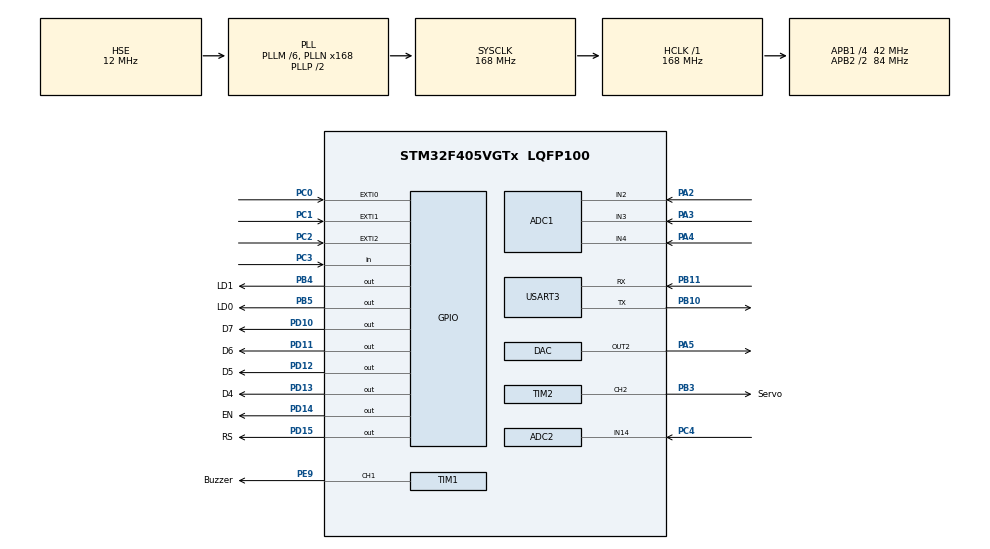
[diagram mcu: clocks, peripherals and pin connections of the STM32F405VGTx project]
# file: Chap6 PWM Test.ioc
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ADC1.Channel-0\#ChannelRegularConversion=ADC_CHANNEL_2
ADC1.Channel-1\#ChannelRegularConversion=ADC_CHANNEL_3
ADC1.Channel-2\#ChannelRegularConversion=ADC_CHANNEL_4
ADC1.ClockPrescaler=ADC_CLOCK_SYNC_PCLK_DIV4
ADC1.ContinuousConvMode=ENABLE
ADC1.DMAContinuousRequests=ENABLE
ADC1.DiscontinuousConvMode=DISABLE
ADC1.EnableAnalogWatchDog=false
ADC1.InjNumberOfConversion=0
ADC1.NbrOfConversion=3
ADC1.NbrOfConversionFlag=1
ADC1.Rank-0\#ChannelRegularConversion=1
ADC1.Rank-1\#ChannelRegularConversion=2
ADC1.Rank-2\#ChannelRegularConversion=3
ADC1.SamplingTime-0\#ChannelRegularConversion=ADC_SAMPLETIME_84CYCLES
ADC1.SamplingTime-1\#ChannelRegularConversion=ADC_SAMPLETIME_84CYCLES
ADC1.SamplingTime-2\#ChannelRegularConversion=ADC_SAMPLETIME_84CYCLES
ADC1.ScanConvMode=ENABLE
ADC1.master=1
ADC2.Channel-1\#ChannelRegularConversion=ADC_CHANNEL_14
ADC2.ClockPrescaler=ADC_CLOCK_SYNC_PCLK_DIV4
ADC2.ContinuousConvMode=ENABLE
ADC2.DMAContinuousRequests=ENABLE
ADC2.NbrOfConversionFlag=1
ADC2.Rank-1\#ChannelRegularConversion=1
ADC2.SamplingTime-1\#ChannelRegularConversion=ADC_SAMPLETIME_84CYCLES
ADC2.ScanConvMode=DISABLE
Dma.ADC1.0.Direction=DMA_PERIPH_TO_MEMORY
Dma.ADC1.0.FIFOMode=DMA_FIFOMODE_DISABLE
Dma.ADC1.0.Instance=DMA2_Stream0
Dma.ADC1.0.MemDataAlignment=DMA_MDATAALIGN_HALFWORD
Dma.ADC1.0.MemInc=DMA_MINC_ENABLE
Dma.ADC1.0.Mode=DMA_CIRCULAR
Dma.ADC1.0.PeriphDataAlignment=DMA_PDATAALIGN_HALFWORD
Dma.ADC1.0.PeriphInc=DMA_PINC_DISABLE
Dma.ADC1.0.Priority=DMA_PRIORITY_LOW
Dma.ADC2.1.Direction=DMA_PERIPH_TO_MEMORY
Dma.ADC2.1.FIFOMode=DMA_FIFOMODE_DISABLE
Dma.ADC2.1.Instance=DMA2_Stream2
Dma.ADC2.1.MemDataAlignment=DMA_MDATAALIGN_HALFWORD
Dma.ADC2.1.MemInc=DMA_MINC_DISABLE
Dma.ADC2.1.Mode=DMA_CIRCULAR
Dma.ADC2.1.PeriphDataAlignment=DMA_PDATAALIGN_HALFWORD
Dma.ADC2.1.PeriphInc=DMA_PINC_DISABLE
Dma.ADC2.1.Priority=DMA_PRIORITY_LOW
Dma.Request0=ADC1
Dma.Request1=ADC2
Mcu.Family=STM32F4
Mcu.Name=STM32F405VGTx
Mcu.Package=LQFP100
NVIC.DMA2_Stream0_IRQn=true\:0\:0\:false\:false\:true\:false\:true\:true
NVIC.DMA2_Stream2_IRQn=true\:0\:0\:false\:false\:true\:false\:true\:true
NVIC.EXTI0_IRQn=true\:0\:0\:false\:true\:true\:1\:true\:true\:true
NVIC.EXTI1_IRQn=true\:0\:0\:false\:true\:true\:2\:true\:true\:true
NVIC.EXTI2_IRQn=true\:0\:0\:false\:true\:true\:3\:true\:true\:true
NVIC.PriorityGroup=NVIC_PRIORITYGROUP_4
NVIC.TIM6_DAC_IRQn=true\:0\:0\:false\:true\:true\:5\:true\:true\:true
NVIC.TIM7_IRQn=true\:0\:0\:false\:true\:true\:6\:true\:true\:true
NVIC.USART3_IRQn=true\:0\:0\:false\:true\:true\:4\:true\:true\:true
PA2.Signal=ADCx_IN2
PA3.Signal=ADCx_IN3
PA4.Signal=ADCx_IN4
PA5.Signal=COMP_DAC2_group
PB10.Mode=Asynchronous
PB10.Signal=USART3_TX
PB11.Mode=Asynchronous
PB11.Signal=USART3_RX
PB3.GPIO_Label=Servo
PB3.Signal=S_TIM2_CH2
PB4.GPIO_Label=LD1
PB4.Signal=GPIO_Output
PB5.GPIO_Label=LD0
PB5.Signal=GPIO_Output
PC0.GPIO_ModeDefaultEXTI=GPIO_MODE_IT_FALLING
PC0.Signal=GPXTI0
PC1.GPIO_ModeDefaultEXTI=GPIO_MODE_IT_FALLING
PC1.Signal=GPXTI1
PC2.GPIO_ModeDefaultEXTI=GPIO_MODE_IT_FALLING
PC2.Signal=GPXTI2
PC3.Signal=GPIO_Input
PC4.Signal=ADCx_IN14
PD10.GPIO_Label=D7
PD10.Signal=GPIO_Output
PD11.GPIO_Label=D6
PD11.Signal=GPIO_Output
PD12.GPIO_Label=D5
PD12.Signal=GPIO_Output
PD13.GPIO_Label=D4
PD13.Signal=GPIO_Output
PD14.GPIO_Label=EN
PD14.Signal=GPIO_Output
PD15.GPIO_Label=RS
PD15.Signal=GPIO_Output
PE9.GPIO_Label=Buzzer
PE9.Signal=S_TIM1_CH1
PH0-OSC_IN.Mode=HSE-External-Oscillator
PH0-OSC_IN.Signal=RCC_OSC_IN
PH1-OSC_OUT.Mode=HSE-External-Oscillator
PH1-OSC_OUT.Signal=RCC_OSC_OUT
ProjectManager.HeapSize=0x200
ProjectManager.StackSize=0x400
ProjectManager.TargetToolchain=STM32CubeIDE
RCC.48MHZClocksFreq_Value=84000000
RCC.AHBFreq_Value=168000000
RCC.APB1CLKDivider=RCC_HCLK_DIV4
RCC.APB1Freq_Value=42000000
RCC.APB1TimFreq_Value=84000000
RCC.APB2CLKDivider=RCC_HCLK_DIV2
RCC.APB2Freq_Value=84000000
RCC.APB2TimFreq_Value=168000000
RCC.CortexFreq_Value=168000000
RCC.HCLKFreq_Value=168000000
RCC.HSE_VALUE=12000000
RCC.HSI_VALUE=16000000
RCC.LSE_VALUE=32768
RCC.PLLM=6
RCC.PLLN=168
RCC.PLLSourceVirtual=RCC_PLLSOURCE_HSE
RCC.SYSCLKFreq_VALUE=168000000
RCC.SYSCLKSource=RCC_SYSCLKSOURCE_PLLCLK
RCC.VCOOutputFreq_Value=336000000
SH.ADCx_IN14.0=ADC2_IN14,IN14
SH.ADCx_IN2.0=ADC1_IN2,IN2
SH.ADCx_IN3.0=ADC1_IN3,IN3
SH.ADCx_IN4.0=ADC1_IN4,IN4
SH.COMP_DAC2_group.0=DAC_OUT2,DAC_OUT2
SH.S_TIM1_CH1.0=TIM1_CH1,PWM Generation1 CH1
SH.S_TIM2_CH2.0=TIM2_CH2,PWM Generation2 CH2
TIM1.Channel-PWM\ Generation1\ CH1=TIM_CHANNEL_1
TIM1.Period=999
TIM1.Prescaler=167
TIM1.Pulse-PWM\ Generation1\ CH1=500
TIM2.Channel-PWM\ Generation2\ CH2=TIM_CHANNEL_2
TIM2.Period=10000-1
TIM2.Prescaler=168-1
TIM2.Pulse-PWM\ Generation2\ CH2=100
TIM4.Prescaler=83
TIM6.AutoReloadPreload=TIM_AUTORELOAD_PRELOAD_DISABLE
TIM6.Period=10000-1
TIM6.Prescaler=8400-1
TIM7.Period=9999
TIM7.Prescaler=4200-1
USART3.VirtualMode=VM_ASYNC
VP_TIM1_VS_ClockSourceINT.Mode=Internal
VP_TIM2_VS_ClockSourceINT.Mode=Internal
VP_TIM4_VS_ClockSourceINT.Mode=Internal
VP_TIM6_VS_ClockSourceINT.Mode=Enable_Timer
VP_TIM7_VS_ClockSourceINT.Mode=Enable_Timer
board=custom

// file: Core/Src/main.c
/* USER CODE BEGIN Header */
/**
  ******************************************************************************
  * @file           : main.c
  * @brief          : Main program body
  ******************************************************************************
  * @attention
  *
  * Copyright (c) 2025 STMicroelectronics.
  * All rights reserved.
  *
  * This software is licensed under terms that can be found in the LICENSE file
  * in the root directory of this software component.
  * If no LICENSE file comes with this software, it is provided AS-IS.
  *
  ******************************************************************************
  */
/* USER CODE END Header */
#include "main.h"
#include "adc.h"
#include "dac.h"
#include "dma.h"
#include "tim.h"
#include "usart.h"
#include "gpio.h"

/* USER CODE BEGIN Includes */
#include "stdio.h"
#include "CLCD.h"

/* USER CODE END Includes */

/* USER CODE BEGIN PM */
int _write(int file, char* p, int len){
	HAL_UART_Transmit(&huart3, p, len, 10);
	return len;
}

/* USER CODE END PM */

/* USER CODE BEGIN PV */
uint8_t rx_data = 0;
uint8_t lcd_flag = 0;

uint16_t adc1_val[3] = {0,};
uint16_t adc2_val = 0;
/* USER CODE END PV */

void SystemClock_Config(void);
static void MX_NVIC_Init(void);

/* USER CODE BEGIN 0 */
long map(long x, long in_min, long in_max, long out_min, long out_max) {
  return (x - in_min) * (out_max - out_min) / (in_max - in_min) + out_min;
}

/* USER CODE END 0 */

int main(void)
{

  /* MCU Configuration--------------------------------------------------------*/

  /* Reset of all peripherals, Initializes the Flash interface and the Systick. */
  HAL_Init();

  /* Configure the system clock */
  SystemClock_Config();

  /* Initialize all configured peripherals */
  MX_GPIO_Init();
  MX_DMA_Init();
  MX_USART3_UART_Init();
  MX_TIM4_Init();
  MX_ADC1_Init();
  MX_DAC_Init();
  MX_ADC2_Init();
  MX_TIM1_Init();
  MX_TIM6_Init();
  MX_TIM7_Init();
  MX_TIM2_Init();

  /* Initialize interrupts */
  MX_NVIC_Init();
  /* USER CODE BEGIN 2 */
  HAL_TIM_Base_Start_IT(&htim6);
//  HAL_TIM_Base_Start_IT(&htim7);

  lcd_Init(4, 20);
  uint8_t str[21];

  HAL_ADC_Start_DMA(&hadc1, &adc1_val[0], sizeof(adc1_val));
  HAL_ADC_Start_DMA(&hadc2, &adc2_val, 1);

  HAL_TIM_PWM_Start(&htim1, TIM_CHANNEL_1);
  HAL_Delay(50);
  HAL_TIM_PWM_Stop(&htim1, TIM_CHANNEL_1);

  HAL_TIM_PWM_Start(&htim2, TIM_CHANNEL_2);

  /* USER CODE END 2 */

  /* Infinite loop */
  /* USER CODE BEGIN WHILE */
  while (1)
  {
	  //예제 1 서보모터 각도 제어
//	  for(int i = 300; i < 1320; i++) {
//		  TIM2->CCR2 = i;
//		  HAL_Delay(1);
//	  }
//
//	  for(int i = 1320; i > 300; i--) {
//	  		  TIM2->CCR2 = i;
//	  		  HAL_Delay(1);
//	  }

	  // 예제 2 가변저항에 따른 서보 각도제어
//	  TIM2->CCR2 = map(adc1_val[0], 0, 4095, 300, 1320);
//
//	  if(lcd_flag) {
//		  lcd_flag = 0;
//
//		  sprintf(str, "ADC: %4d CCR: %4d", adc1_val[0], TIM2->CCR2);
//		  lcd_setCurStr(0, 0, str);
//	  }
    /* USER CODE END WHILE */

  }
}

void SystemClock_Config(void)
{
  RCC_OscInitTypeDef RCC_OscInitStruct = {0};
  RCC_ClkInitTypeDef RCC_ClkInitStruct = {0};

  /** Configure the main internal regulator output voltage
  */
  __HAL_RCC_PWR_CLK_ENABLE();
  __HAL_PWR_VOLTAGESCALING_CONFIG(PWR_REGULATOR_VOLTAGE_SCALE1);

  /** Initializes the RCC Oscillators according to the specified parameters
  * in the RCC_OscInitTypeDef structure.
  */
  RCC_OscInitStruct.OscillatorType = RCC_OSCILLATORTYPE_HSE;
  RCC_OscInitStruct.HSEState = RCC_HSE_ON;
  RCC_OscInitStruct.PLL.PLLState = RCC_PLL_ON;
  RCC_OscInitStruct.PLL.PLLSource = RCC_PLLSOURCE_HSE;
  RCC_OscInitStruct.PLL.PLLM = 6;
  RCC_OscInitStruct.PLL.PLLN = 168;
  RCC_OscInitStruct.PLL.PLLP = RCC_PLLP_DIV2;
  RCC_OscInitStruct.PLL.PLLQ = 4;
  if (HAL_RCC_OscConfig(&RCC_OscInitStruct) != HAL_OK)
  {
    Error_Handler();
  }

  /** Initializes the CPU, AHB and APB buses clocks
  */
  RCC_ClkInitStruct.ClockType = RCC_CLOCKTYPE_HCLK|RCC_CLOCKTYPE_SYSCLK
                              |RCC_CLOCKTYPE_PCLK1|RCC_CLOCKTYPE_PCLK2;
  RCC_ClkInitStruct.SYSCLKSource = RCC_SYSCLKSOURCE_PLLCLK;
  RCC_ClkInitStruct.AHBCLKDivider = RCC_SYSCLK_DIV1;
  RCC_ClkInitStruct.APB1CLKDivider = RCC_HCLK_DIV4;
  RCC_ClkInitStruct.APB2CLKDivider = RCC_HCLK_DIV2;

  if (HAL_RCC_ClockConfig(&RCC_ClkInitStruct, FLASH_LATENCY_5) != HAL_OK)
  {
    Error_Handler();
  }
}

/**
  * @brief NVIC Configuration.
  * @retval None
  */
static void MX_NVIC_Init(void)
{
  /* EXTI0_IRQn interrupt configuration */
  HAL_NVIC_SetPriority(EXTI0_IRQn, 0, 0);
  HAL_NVIC_EnableIRQ(EXTI0_IRQn);
  /* EXTI1_IRQn interrupt configuration */
  HAL_NVIC_SetPriority(EXTI1_IRQn, 0, 0);
  HAL_NVIC_EnableIRQ(EXTI1_IRQn);
  /* EXTI2_IRQn interrupt configuration */
  HAL_NVIC_SetPriority(EXTI2_IRQn, 0, 0);
  HAL_NVIC_EnableIRQ(EXTI2_IRQn);
  /* USART3_IRQn interrupt configuration */
  HAL_NVIC_SetPriority(USART3_IRQn, 0, 0);
  HAL_NVIC_EnableIRQ(USART3_IRQn);
  /* TIM6_DAC_IRQn interrupt configuration */
  HAL_NVIC_SetPriority(TIM6_DAC_IRQn, 0, 0);
  HAL_NVIC_EnableIRQ(TIM6_DAC_IRQn);
  /* TIM7_IRQn interrupt configuration */
  HAL_NVIC_SetPriority(TIM7_IRQn, 0, 0);
  HAL_NVIC_EnableIRQ(TIM7_IRQn);
}

/* USER CODE BEGIN 4 */
void HAL_GPIO_EXTI_Callback(uint16_t GPIO_Pin)
{
	if(GPIO_Pin == GPIO_PIN_0) {

	}
	else if(GPIO_Pin == GPIO_PIN_1) {

	}
	else if(GPIO_Pin == GPIO_PIN_2) {

	}
}

void HAL_UART_RxCpltCallback(UART_HandleTypeDef *huart)
{
	if(huart->Instance == USART3) {
		HAL_UART_Receive_IT(&huart3, &rx_data, 1);
		HAL_UART_Transmit(&huart3, &rx_data, 1, 1000);
	}
}

void HAL_TIM_PeriodElapsedCallback(TIM_HandleTypeDef *htim)
{
	if(htim -> Instance == TIM6) {
		lcd_flag = 1;
	}
	if(htim -> Instance == TIM7) {

	}
}

/* USER CODE END 4 */

void Error_Handler(void)
{
  __disable_irq();
  while (1)
  {
  }
}
